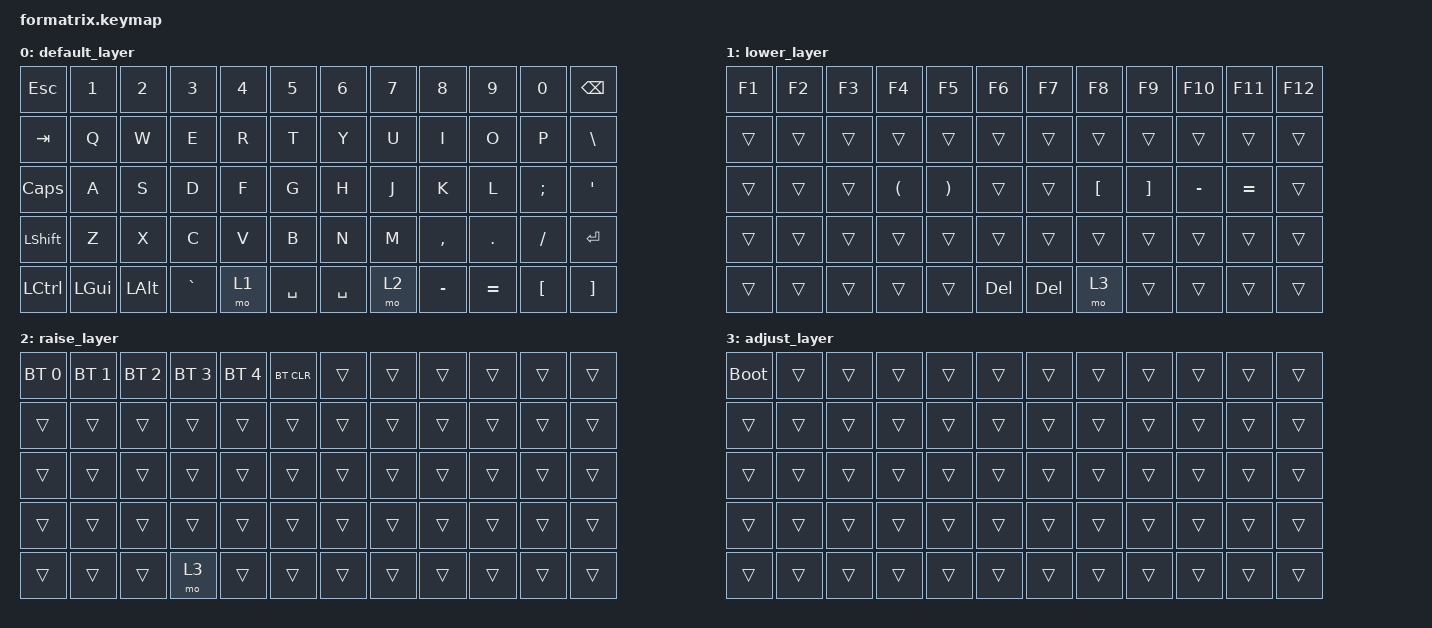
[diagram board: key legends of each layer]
/*
 * ForMatrix Keymap
 * 
 * Layers:
 * - Layer 0: Default (QWERTY)
 * - Layer 1: Function keys + Symbols
 * - Layer 2: Bluetooth + Settings
 * - Layer 3: Reset
 */

#include <behaviors.dtsi>
#include <dt-bindings/zmk/keys.h>
#include <dt-bindings/zmk/bt.h>
#include <dt-bindings/zmk/outputs.h>

/ {
    keymap {
        compatible = "zmk,keymap";

        default_layer {
            bindings = <
&kp ESC   &kp N1    &kp N2    &kp N3    &kp N4    &kp N5       &kp N6    &kp N7    &kp N8    &kp N9    &kp N0    &kp BSPC
&kp TAB   &kp Q     &kp W     &kp E     &kp R     &kp T        &kp Y     &kp U     &kp I     &kp O     &kp P     &kp BSLH
&kp CAPS  &kp A     &kp S     &kp D     &kp F     &kp G        &kp H     &kp J     &kp K     &kp L     &kp SEMI  &kp APOS
&kp LSHFT &kp Z     &kp X     &kp C     &kp V     &kp B        &kp N     &kp M     &kp COMMA &kp DOT   &kp FSLH  &kp RET
&kp LCTRL &kp LGUI  &kp LALT  &kp GRAVE &mo 1     &kp SPACE    &kp SPACE &mo 2     &kp MINUS &kp EQUAL &kp LBKT  &kp RBKT
            >;
        };

        lower_layer {
            bindings = <
&kp F1    &kp F2    &kp F3    &kp F4    &kp F5    &kp F6       &kp F7    &kp F8    &kp F9    &kp F10   &kp F11   &kp F12
&trans    &trans    &trans    &trans    &trans    &trans       &trans    &trans    &trans    &trans    &trans    &trans
&trans    &trans    &trans    &kp LPAR  &kp RPAR  &trans       &trans    &kp LBKT  &kp RBKT  &kp MINUS &kp EQUAL &trans
&trans    &trans    &trans    &trans    &trans    &trans       &trans    &trans    &trans    &trans    &trans    &trans
&trans    &trans    &trans    &trans    &trans    &kp DEL      &kp DEL   &mo 3     &trans    &trans    &trans    &trans
            >;
        };

        raise_layer {
            bindings = <
&bt BT_SEL 0 &bt BT_SEL 1 &bt BT_SEL 2 &bt BT_SEL 3 &bt BT_SEL 4 &bt BT_CLR    &trans    &trans    &trans    &trans    &trans    &trans
&trans       &trans       &trans       &trans       &trans       &trans        &trans    &trans    &trans    &trans    &trans    &trans
&trans       &trans       &trans       &trans       &trans       &trans        &trans    &trans    &trans    &trans    &trans    &trans
&trans       &trans       &trans       &trans       &trans       &trans        &trans    &trans    &trans    &trans    &trans    &trans
&trans       &trans       &trans       &mo 3        &trans       &trans        &trans    &trans    &trans    &trans    &trans    &trans
            >;
        };

        adjust_layer {
            bindings = <
&bootloader   &trans     &trans     &trans     &trans     &trans       &trans    &trans    &trans    &trans    &trans    &trans
&trans        &trans     &trans     &trans     &trans     &trans       &trans    &trans    &trans    &trans    &trans    &trans
&trans        &trans     &trans     &trans     &trans     &trans       &trans    &trans    &trans    &trans    &trans    &trans
&trans        &trans     &trans     &trans     &trans     &trans       &trans    &trans    &trans    &trans    &trans    &trans
&trans        &trans     &trans     &trans     &trans     &trans       &trans    &trans    &trans    &trans    &trans    &trans
            >;
        };
    };
};
